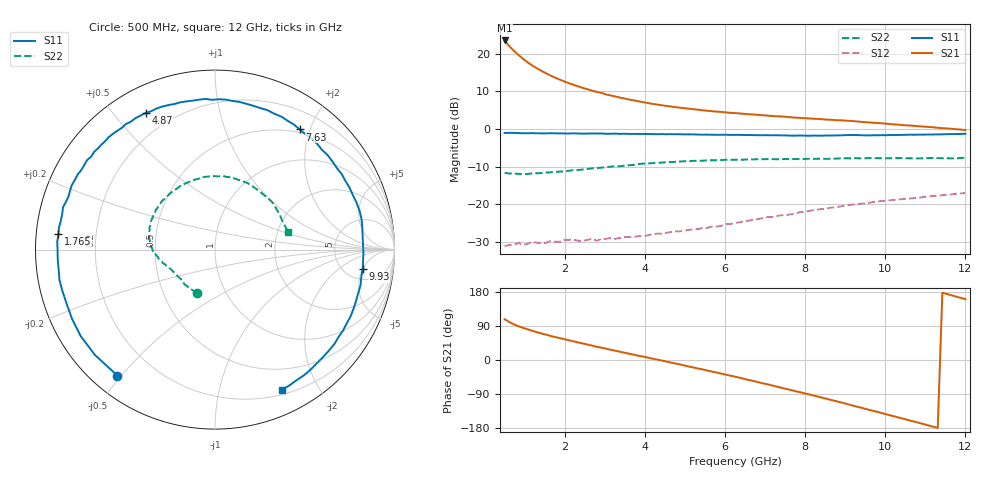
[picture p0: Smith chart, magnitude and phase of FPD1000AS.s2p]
! LD005-03-0796-20 2.4mm 011_4.S2P
! FTauMode : =MODE(FTau,1.0)
! FMaxMode : =MODE(FMax,1.0)
! [S]Parameter Files 2.4mm Device
! Fixturing is IS de-embedded
! External Bias Tee's
! OPERATOR : System Administrator
! TIME : 10:32:51 AM
! DATE : 12/9/2003
! SYSTEM NAME : Engineering's 8510c
! TECH : Steve Mosac
! CALIBRATION : TRL A0137234
! LOT ID : LD005-03-0796
! WAFER ID : -20
! RETICLE No. : 0-1
! NOMENCLATURE : 2.4mm
! SERIAL NUMBER : 1
! Rg VALUE :
! WavevueVersion : 4.01.14
! DCBiasTarget : Vd = 10.000 V, Id = 200.000 mA
! DCBiasActual : Vg = -.775 V, Ig = -.011 mA, Vd = 10.0 V, Id = 202 mA
! TestEndDate : 12/9/2003
! TestEndTime : 10:32:59 AM
! DCBiasResistance : Rg = 68 kOhm, Rd = 49.6 Ohm
! FREQ-GHZ  S11MAG  S11ANG  S21MAG  S21ANG  S12MAG  S12ANG  S22MAG  S22ANG
# GHZ S MA R 50
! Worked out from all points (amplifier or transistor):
!   101 points, 500 MHz to 12 GHz, reference 50 ohm
!   highest |S21| = 23.5 dB at 500 MHz (marker M1)
!   |S21| within 3 dB of that: start of sweep to 758.7 MHz
!   unconditionally stable (mu >= 1): 3.226 GHz to 8.768 GHz
!   at 2.34 GHz: K = 0.79, MSG = 20.5 dB, |S12| = -29.6 dB
!   at 6.25 GHz: K = 1.20, MAG = 11.9 dB, |S12| = -24.9 dB
!   at 12 GHz: K = 0.75, MSG = 8.3 dB, |S12| = -17.0 dB
!   S11 on the Smith chart (normalised r, x): 500 MHz: 0.07, -0.49; 1.765 GHz: 0.07, +0.05; 4.87 GHz: 0.11, +0.61; 7.63 GHz: 0.45, +1.84; 9.93 GHz: 7.29, -5.00; 12 GHz: 0.25, -1.55
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0.5  0.888 -127.8  14.96 107.4  0.028 25.8  0.263 -112.3
0.615  0.89 -138.8  12.59 100.2  0.029 21.9  0.257 -123.2
0.73  0.89 -147.3  10.94 94.2  0.029 17.4  0.257 -130.3
0.845  0.885 -154.2  9.604 89.1  0.031 15.9  0.255 -135.6
0.96  0.88 -159.8  8.538 84.8  0.029 14.0  0.251 -139.0
1.19  0.883 -168.9  6.96 76.9  0.032 11.0  0.258 -147.0
1.42  0.878 -176.1  5.902 70.0  0.031 6.9  0.261 -150.8
1.765  0.877 174.4  4.778 60.4  0.032 3.4  0.27 -156.6
2.11  0.874 166.9  4.044 51.8  0.034 -0.1  0.28 -160.1
2.455  0.868 160.1  3.509 43.6  0.033 -3.4  0.291 -163.9
2.8  0.872 153.5  3.109 34.9  0.033 -3.0  0.303 -167.6
3.26  0.87 145.1  2.703 24.5  0.035 -3.2  0.32 -172.2
4.41  0.858 125.4  2.072 -1.2  0.041 -10.6  0.359 175.7
4.87  0.854 116.9  1.924 -11.6  0.044 -13.3  0.371 170.3
6.25  0.838 88.5  1.627 -44.0  0.057 -24.4  0.392 151.8
7.63  0.819 54.8  1.434 -78.8  0.074 -43.6  0.401 127.5
8.205  0.819 40.1  1.371 -93.6  0.084 -52.5  0.402 116.2
9.01  0.831 18.3  1.293 -115.1  0.097 -67.5  0.409 98.0
9.93  0.83 -7.4  1.19 -140.6  0.111 -86.9  0.411 74.8
10.16  0.835 -13.7  1.161 -147.0  0.114 -92.0  0.411 68.8
11.08  0.848 -38.3  1.067 -172.7  0.127 -111.6  0.412 42.6
12  0.865 -64.6  0.97 160.6  0.142 -133.9  0.416 13.4
